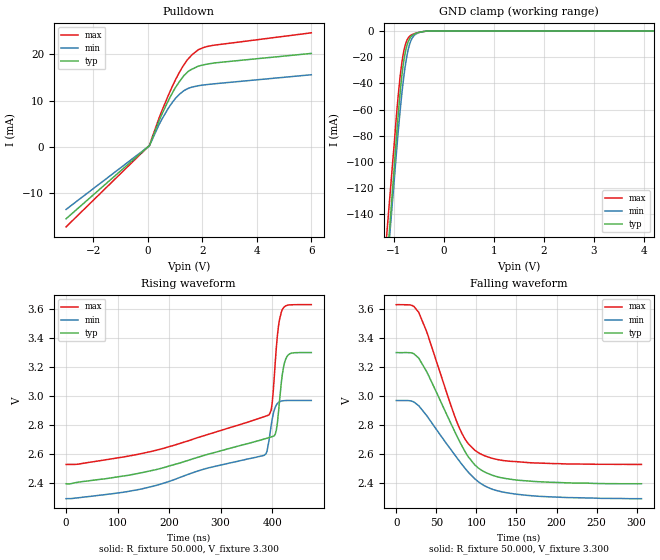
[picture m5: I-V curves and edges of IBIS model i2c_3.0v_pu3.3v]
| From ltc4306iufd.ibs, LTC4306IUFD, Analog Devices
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[Model]   i2c_3.0v_pu3.3v
Model_type I/O_open_drain
Vinl=5.200E-01
Vinh=2.000E+00
Vref=3.300E+00
Rref=2.700E+03
Cref=0.000E+00
Vmeas=1.500E+00
C_comp   1.380E-12   1.270E-12   1.490E-12
[Model spec]
Vref  3.30   2.97   3.63
Vinl  0.52   0.40   0.64
|Vinh
[Voltage Range]   3.000E+00   2.700E+00   3.300E+00
[POWER Clamp Reference]   3.000E+00   2.700E+00   3.300E+00
[GND Clamp Reference]   0.000E+00   0.000E+00   0.000E+00
[Pullup Reference]   3.000E+00   2.700E+00   3.300E+00
[Pulldown Reference]   0.000E+00   0.000E+00   0.000E+00
[Temperature Range]   25   85   -40
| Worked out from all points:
|   slope of the pulldown table from 0 to 0.45 V, typ, clamps not added: 73 ohm
|   GND clamp passes 1 mA (typ) near -0.49 V on its own axis
|   rising waveform, R_fixture 50.000, V_fixture 3.300: 20-80 % time 164ns typ, 187ns min, 122ns max; typ from 2.4 V to 3.3 V
|   falling waveform, R_fixture 50.000, V_fixture 3.300: 20-80 % time 48.3ns typ, 56.4ns min, 41.3ns max; typ from 3.3 V to 2.4 V
[GND Clamp]
-3V       -1.123A    -1.049A    -1.019A
-1.02V    -116.3mA   -125.2mA   -97.2mA
-900mV    -56.73mA   -70.17mA   -43.02mA
-860mV    -40.39mA   -54.14mA   -29.19mA
-820mV    -26.92mA   -39.97mA   -18.63mA
-780mV    -17.32mA   -28.08mA   -11.36mA
-720mV    -8.609mA   -14.86mA   -5.549mA
-680mV    -5.374mA   -9.199mA   -3.756mA
-620mV    -2.925mA   -4.457mA   -2.416mA
-520mV    -1.256mA   -1.414mA   -1.235mA
-340mV    0A         0A         0A
6V        0A         0A         0A
[Pulldown]
-3V       -15.46mA   -13.44mA   -17.2mA
60mV      266.1uA    284.9uA    397uA
500mV     6.847mA    5.809mA    7.559mA
720mV     9.595mA    8.033mA    10.67mA
940mV     12.07mA    9.931mA    13.57mA
1.14V     13.92mA    11.24mA    15.88mA
1.32V     15.36mA    12.11mA    17.67mA
1.48V     16.28mA    12.62mA    18.97mA
1.64V     16.81mA    12.93mA    19.96mA
1.88V     17.46mA    13.22mA    21.03mA
2.44V     18.11mA    13.61mA    21.94mA
6V        20.16mA    15.56mA    24.59mA
[Rising Waveform]
R_fixture = 50.000
V_fixture = 3.300
V_fixture_min = 2.970
V_fixture_max = 3.630
|  time   V(typ)   V(min)   V(max)
0s        2.397V     2.294V     2.53V
170ns     2.49V      2.381V     2.623V
384ns     2.704V     2.592V     2.858V
394ns     2.715V     2.696V     2.871V
400ns     2.721V     2.84V      2.95V
408ns     2.764V     2.938V     3.329V
418ns     3.1V       2.966V     3.581V
424ns     3.23V      2.969V     3.616V
432ns     3.286V     2.97V      3.627V
476ns     3.3V       2.97V      3.63V
[Falling Waveform]
R_fixture = 50.000
V_fixture = 3.300
V_fixture_min = 2.970
V_fixture_max = 3.630
|  time   V(typ)   V(min)   V(max)
0s        3.3V       2.97V      3.63V
20ns      3.296V     2.964V     3.624V
28ns      3.262V     2.934V     3.577V
38ns      3.168V     2.866V     3.443V
78ns      2.699V     2.558V     2.79V
88ns      2.598V     2.488V     2.686V
102ns     2.507V     2.412V     2.612V
124ns     2.448V     2.352V     2.566V
158ns     2.418V     2.32V      2.545V
306ns     2.397V     2.294V     2.53V
[Ramp]
dV/dt_r   5.2981E-01/1.6420E-07   4.0030E-01/1.8680E-07   6.5013E-01/1.2230E-07
dV/dt_f   5.2981E-01/4.8183E-08   4.0030E-01/5.6351E-08   6.5013E-01/4.1248E-08
R_load = 50
